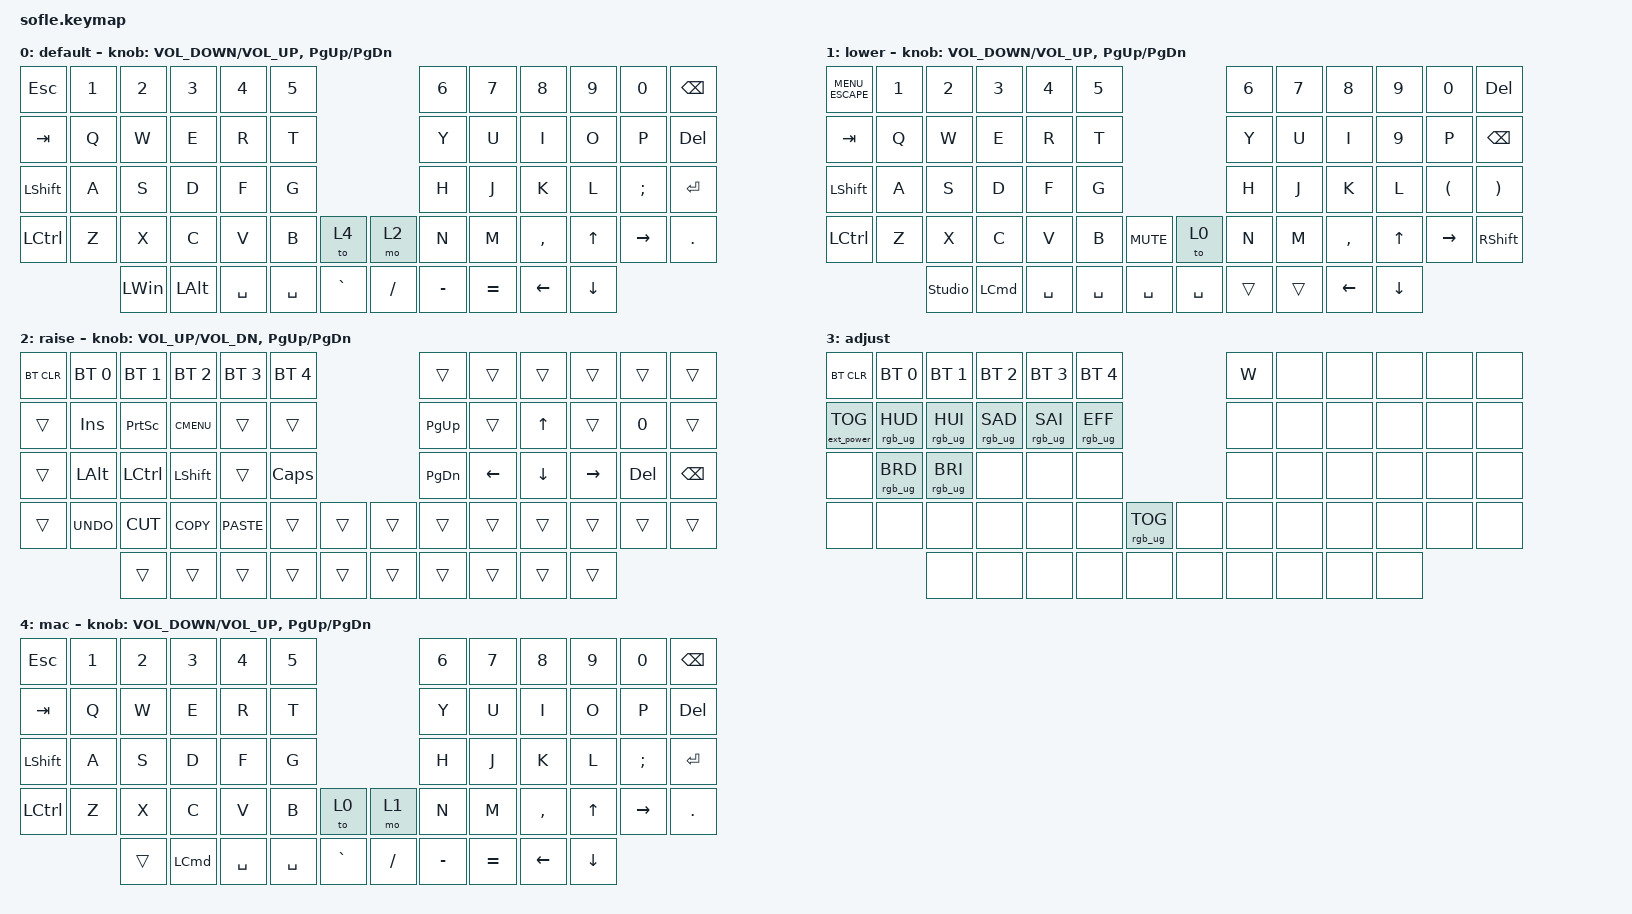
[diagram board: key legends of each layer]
/*
 * Copyright (c) 2020 The ZMK Contributors
 *
 * SPDX-License-Identifier: MIT
 */

#include <behaviors.dtsi>
#include <dt-bindings/zmk/bt.h>
#include <dt-bindings/zmk/ext_power.h>
#include <dt-bindings/zmk/keys.h>
#include <dt-bindings/zmk/rgb.h>

#define BASE 0
#define LOWER 1
#define RAISE 2
#define ADJUST 3

/ {
    // Activate ADJUST layer by pressing raise and lower

    conditional_layers {
        compatible = "zmk,conditional-layers";

        adjust_layer {
            if-layers = <1 2>;
            then-layer = <3>;
        };
    };

    keymap {
        compatible = "zmk,keymap";

        default_layer {
            label = "default";

            // ------------------------------------------------------------------------------------------------------------
            // |   `   |  1  |  2  |  3   |  4   |  5   |                   |  6   |  7    |  8    |  9   |   0   |       |
            // |  ESC  |  Q  |  W  |  E   |  R   |  T   |                   |  Y   |  U    |  I    |  O   |   P   | BKSPC |
            // |  TAB  |  A  |  S  |  D   |  F   |  G   |                   |  H   |  J    |  K    |  L   |   ;   |   '   |
            // | SHIFT |  Z  |  X  |  C   |  V   |  B   |  MUTE  |  |       |  N   |  M    |  ,    |  .   |   /   | SHIFT |
            //               | GUI | ALT  | CTRL | LOWER|  ENTER |  | SPACE | RAISE| CTRL  | ALT   | GUI  |

            bindings = <
&kp ESC           &kp N1  &kp N2        &kp N3        &kp N4     &kp N5                             &kp N6     &kp N7     &kp N8     &kp N9          &kp N0         &kp BACKSPACE
&kp TAB           &kp Q   &kp W         &kp E         &kp R      &kp T                              &kp Y      &kp U      &kp I      &kp O           &kp P          &kp DEL
&kp LEFT_SHIFT    &kp A   &kp S         &kp D         &kp F      &kp G                              &kp H      &kp J      &kp K      &kp L           &kp SEMICOLON  &kp ENTER
&kp LEFT_CONTROL  &kp Z   &kp X         &kp C         &kp V      &kp B      &to 4        &mo 2      &kp N      &kp M      &kp COMMA  &kp UP_ARROW    &kp RIGHT      &kp PERIOD
                          &kp LEFT_WIN  &kp LEFT_ALT  &kp SPACE  &kp SPACE  &kp GRAVE    &kp SLASH  &kp MINUS  &kp EQUAL  &kp LEFT   &kp DOWN_ARROW
            >;

            sensor-bindings =
                <&inc_dec_kp C_VOLUME_DOWN C_VOLUME_UP>,
                <&inc_dec_kp PG_UP PG_DN>;
        };

        lower_layer {
            label = "lower";

            // TODO: Some binds are waiting for shifted keycode support.
            // ------------------------------------------------------------------------------------------------------------
            // |       |  F1 |  F2 |  F3  |  F4  |  F5  |                   |  F6  |  F7   |  F8   |  F9  |  F10  |  F11  |
            // |   `   |  1  |  2  |  3   |  4   |  5   |                   |  6   |  7    |  8    |  9   |   0   |  F12  |
            // |       |  !  |  @  |  #   |  $   |  %   |                   |  ^   |  &    |  *    |  (   |   )   |   |   |
            // |       |  =  |  -  |  +   |  {   |  }   |        |  |       |  [   |  ]    |  ;    |  :   |   \   |       |
            //               |     |      |      |      |        |  |       |      |       |       |      |

            bindings = <
&kp C_MENU_ESCAPE  &kp NUMBER_1  &kp NUMBER_2    &kp NUMBER_3      &kp NUMBER_4  &kp N5                              &kp NUMBER_6  &kp N7  &kp N8          &kp NUMBER_9    &kp N0                &kp DELETE
&kp TAB            &kp Q         &kp W           &kp E             &kp R         &kp T                               &kp Y         &kp U   &kp I           &kp N9          &kp P                 &kp BACKSPACE
&kp LEFT_SHIFT     &kp A         &kp S           &kp D             &kp F         &kp G                               &kp H         &kp J   &kp K           &kp L           &kp LEFT_PARENTHESIS  &kp RIGHT_PARENTHESIS
&kp LEFT_CONTROL   &kp Z         &kp X           &kp C             &kp V         &kp B      &kp C_MUTE    &to 0      &kp N         &kp M   &kp COMMA       &kp UP_ARROW    &kp RIGHT             &kp RIGHT_SHIFT
                                 &studio_unlock  &kp LEFT_COMMAND  &kp SPACE     &kp SPACE  &kp SPACE     &kp SPACE  &trans        &trans  &kp LEFT_ARROW  &kp DOWN_ARROW
            >;

            sensor-bindings =
                <&inc_dec_kp C_VOLUME_DOWN C_VOLUME_UP>,
                <&inc_dec_kp PG_UP PG_DN>;
        };

        raise_layer {
            label = "raise";

            // ------------------------------------------------------------------------------------------------------------
            // | BTCLR | BT1  | BT2  |  BT3  |  BT4  |  BT5 |                |      |      |       |      |       |       |
            // |       | INS  | PSCR | GUI   |       |      |                | PGUP |      |   ^   |      |       |       |
            // |       | ALT  | CTRL | SHIFT |       | CAPS |                | PGDN |   <- |   v   |  ->  |  DEL  | BKSPC |
            // |       | UNDO | CUT  | COPY  | PASTE |      |      |  |      |      |      |       |      |       |       |
            //                |      |       |       |      |      |  |      |      |      |       |      |

            bindings = <
&bt BT_CLR  &bt BT_SEL 0  &bt BT_SEL 1  &bt BT_SEL 2  &bt BT_SEL 3  &bt BT_SEL 4                    &trans     &trans    &trans    &trans     &trans   &trans
&trans      &kp INS       &kp PSCRN     &kp K_CMENU   &trans        &trans                          &kp PG_UP  &trans    &kp UP    &trans     &kp N0   &trans
&trans      &kp LALT      &kp LCTRL     &kp LSHFT     &trans        &kp CLCK                        &kp PG_DN  &kp LEFT  &kp DOWN  &kp RIGHT  &kp DEL  &kp BSPC
&trans      &kp K_UNDO    &kp K_CUT     &kp K_COPY    &kp K_PASTE   &trans        &trans    &trans  &trans     &trans    &trans    &trans     &trans   &trans
                          &trans        &trans        &trans        &trans        &trans    &trans  &trans     &trans    &trans    &trans
            >;

            sensor-bindings = <&inc_dec_kp C_VOL_UP C_VOL_DN &inc_dec_kp PG_UP PG_DN>;
        };

        adjust_layer {
            // ----------------------------------------------------------------------------------------------------------------------------
            // | BTCLR  |  BT1    |  BT2    |   BT3   |   BT4   |   BT5   |                  |      |      |       |      |       |       |
            // | EXTPWR | RGB_HUD | RGB_HUI | RGB_SAD | RGB_SAI | RGB_EFF |                  |      |      |       |      |       |       |
            // |        | RGB_BRD | RGB_BRI |         |         |         |                  |      |      |       |      |       |       |
            // |        |         |         |         |         |         | RGB_TOG | |      |      |      |       |      |       |       |
            //                    |         |         |         |         |         | |      |      |      |       |      |

            label = "adjust";
            bindings = <
&bt BT_CLR         &bt BT_SEL 0     &bt BT_SEL 1     &bt BT_SEL 2     &bt BT_SEL 3     &bt BT_SEL 4                               &kp W  &none  &none  &none  &none  &none
&ext_power EP_TOG  &rgb_ug RGB_HUD  &rgb_ug RGB_HUI  &rgb_ug RGB_SAD  &rgb_ug RGB_SAI  &rgb_ug RGB_EFF                            &none  &none  &none  &none  &none  &none
&none              &rgb_ug RGB_BRD  &rgb_ug RGB_BRI  &none            &none            &none                                      &none  &none  &none  &none  &none  &none
&none              &none            &none            &none            &none            &none            &rgb_ug RGB_TOG    &none  &none  &none  &none  &none  &none  &none
                                    &none            &none            &none            &none            &none              &none  &none  &none  &none  &none
            >;
        };

        mac {
            bindings = <
&kp ESCAPE        &kp NUMBER_1  &kp NUMBER_2  &kp NUMBER_3      &kp NUMBER_4  &kp N5                             &kp NUMBER_6  &kp NUMBER_7  &kp NUMBER_8    &kp NUMBER_9  &kp NUMBER_0   &kp BACKSPACE
&kp TAB           &kp Q         &kp W         &kp E             &kp R         &kp T                              &kp Y         &kp U         &kp I           &kp O         &kp P          &kp DEL
&kp LEFT_SHIFT    &kp A         &kp S         &kp D             &kp F         &kp G                              &kp H         &kp J         &kp K           &kp L         &kp SEMICOLON  &kp RET
&kp LEFT_CONTROL  &kp Z         &kp X         &kp C             &kp V         &kp B      &to 0        &mo 1      &kp N         &kp M         &kp COMMA       &kp UP_ARROW  &kp RIGHT      &kp PERIOD
                                &trans        &kp LEFT_COMMAND  &kp SPACE     &kp SPACE  &kp GRAVE    &kp SLASH  &kp MINUS     &kp EQUAL     &kp LEFT_ARROW  &kp DOWN
            >;

            sensor-bindings =
                <&inc_dec_kp C_VOLUME_DOWN C_VOL_UP>,
                <&inc_dec_kp PG_UP PG_DN>;
        };
    };
};
